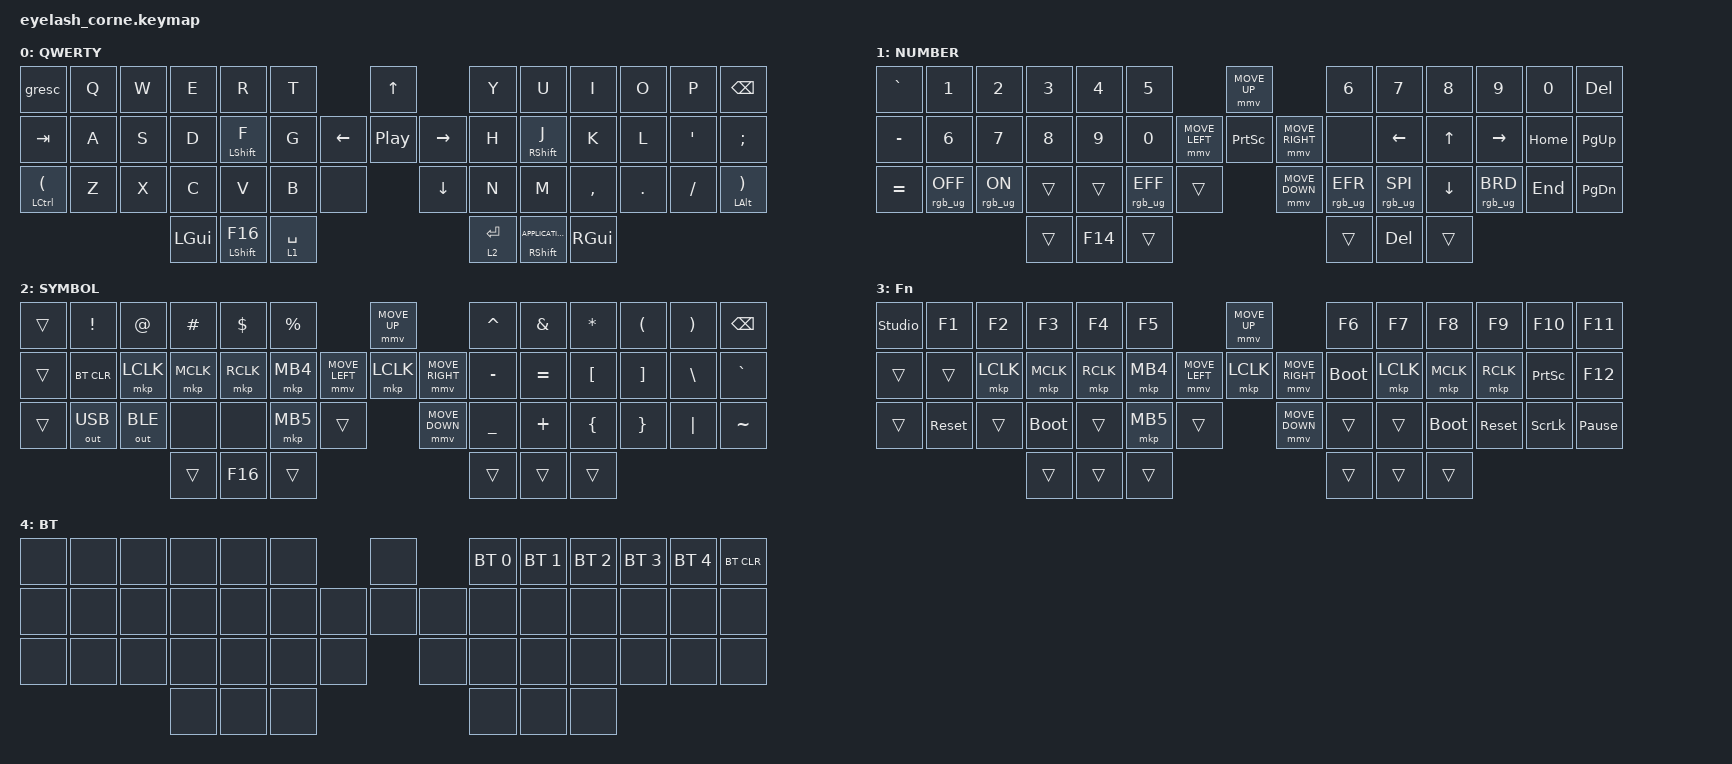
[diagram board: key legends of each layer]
#define ZMK_POINTING_DEFAULT_MOVE_VAL 1200  // 600
#define ZMK_POINTING_DEFAULT_SCRL_VAL 25   // 10

#include <input/processors.dtsi>
#include <zephyr/dt-bindings/input/input-event-codes.h>
#include <behaviors.dtsi>
#include <dt-bindings/zmk/bt.h>
#include <dt-bindings/zmk/keys.h>
#include <dt-bindings/zmk/outputs.h>
#include <dt-bindings/zmk/pointing.h>
#include <dt-bindings/zmk/rgb.h>

&mmv_input_listener { input-processors = <&zip_xy_scaler 2 1>; };

&msc_input_listener { input-processors = <&zip_scroll_scaler 2 1>; };

&msc {
    acceleration-exponent = <1>;      // 0
    time-to-max-speed-ms = <100>;       // 300
    delay-ms = <0>;                   // 0
};

&mmv {
    time-to-max-speed-ms = <500>;
    acceleration-exponent = <1>;
    trigger-period-ms = <16>;
};

&soft_off { hold-time-ms = <2000>; };

/ {
    behaviors {
        td0: td0 {
            compatible = "zmk,behavior-tap-dance";
            display-name = "Shift/Caps Lock Tap Dance";
            #binding-cells = <0>;
            bindings = <&kp LEFT_SHIFT>, <&kp CAPS>;
        };

        hrm: hrm {
            compatible = "zmk,behavior-hold-tap";
            label = "Home Row Mod";
            bindings = <&kp>, <&kp>;

            #binding-cells = <2>;
            flavor = "hold-preferred";
            tapping-term-ms = <250>;
            quick-tap-ms = <150>;
            require-prior-idle-ms = <125>;
        };
    };

    combos {
        compatible = "zmk,combos";

        softoff {
            bindings = <&soft_off>;
            key-positions = <1 15 29>;
        };

        next-BT {
            bindings = <&sl 4>;
            key-positions = <5 33>;
        };

        capswords {
            bindings = <&caps_word>;
            key-positions = <43 46>;
        };
    };

    keymap {
        compatible = "zmk,keymap";

        default_layer {
            display-name = "QWERTY";
            bindings = <
&gresc                      &kp Q  &kp W  &kp E     &kp R               &kp T                           &kp UP                       &kp Y        &kp U                          &kp I          &kp O    &kp P             &kp BACKSPACE
&kp TAB                     &kp A  &kp S  &kp D     &hrm LEFT_SHIFT F   &kp G                 &kp LEFT  &kp C_PLAY_PAUSE  &kp RIGHT  &kp H        &hrm RIGHT_SHIFT J             &kp K          &kp L    &kp SINGLE_QUOTE  &kp SEMI
&mt LCTRL LEFT_PARENTHESIS  &kp Z  &kp X  &kp C     &kp V               &kp B        &none              &kp DOWN                     &kp N        &kp M                          &kp COMMA      &kp DOT  &kp FSLH          &mt LEFT_ALT RIGHT_PARENTHESIS
                                          &kp LGUI  &mt LEFT_SHIFT F16  &lt 1 SPACE                                                  &lt 2 ENTER  &mt RIGHT_SHIFT K_APPLICATION  &kp RIGHT_GUI
            >;
        };

        lower_layer {
            display-name = "NUMBER";
            bindings = <
&kp GRAVE  &kp N1           &kp N2          &kp N3  &kp N4   &kp N5                                     &mmv MOVE_UP                      &kp N6           &kp N7           &kp N8    &kp N9           &kp N0    &kp DEL
&kp MINUS  &kp N6           &kp N7          &kp N8  &kp N9   &kp N0                     &mmv MOVE_LEFT  &kp PRINTSCREEN  &mmv MOVE_RIGHT  &none            &kp LEFT         &kp UP    &kp RIGHT        &kp HOME  &kp PG_UP
&kp EQUAL  &rgb_ug RGB_OFF  &rgb_ug RGB_ON  &trans  &trans   &rgb_ug RGB_EFF  &trans                    &mmv MOVE_DOWN                    &rgb_ug RGB_EFR  &rgb_ug RGB_SPI  &kp DOWN  &rgb_ug RGB_BRD  &kp END   &kp PG_DN
                                            &trans  &kp F14  &trans                                                                       &trans           &kp DEL          &trans
            >;
        };

        raise_layer {
            display-name = "SYMBOL";
            bindings = <
&trans  &kp EXCL      &kp AT        &kp HASH   &kp DLLR   &kp PRCNT                            &mmv MOVE_UP                     &kp CARET  &kp AMPS   &kp ASTRK  &kp LPAR  &kp RPAR  &kp BSPC
&trans  &bt BT_CLR    &mkp LCLK     &mkp MCLK  &mkp RCLK  &mkp MB4             &mmv MOVE_LEFT  &mkp LCLK       &mmv MOVE_RIGHT  &kp MINUS  &kp EQUAL  &kp LBKT   &kp RBKT  &kp BSLH  &kp GRAVE
&trans  &out OUT_USB  &out OUT_BLE  &none      &none      &mkp MB5   &trans                    &mmv MOVE_DOWN                   &kp UNDER  &kp PLUS   &kp LBRC   &kp RBRC  &kp PIPE  &kp TILDE
                                    &trans     &kp F16    &trans                                                                &trans     &trans     &trans
            >;
        };

        layer_3 {
            display-name = "Fn";
            bindings = <
&studio_unlock  &kp F1      &kp F2     &kp F3       &kp F4     &kp F5                              &mmv MOVE_UP                     &kp F6       &kp F7     &kp F8       &kp F9      &kp F10          &kp F11
&trans          &trans      &mkp LCLK  &mkp MCLK    &mkp RCLK  &mkp MB4            &mmv MOVE_LEFT  &mkp LCLK       &mmv MOVE_RIGHT  &bootloader  &mkp LCLK  &mkp MCLK    &mkp RCLK   &kp PRINTSCREEN  &kp F12
&trans          &sys_reset  &trans     &bootloader  &trans     &mkp MB5  &trans                    &mmv MOVE_DOWN                   &trans       &trans     &bootloader  &sys_reset  &kp SCROLLLOCK   &kp PAUSE_BREAK
                                       &trans       &trans     &trans                                                               &trans       &trans     &trans
            >;
        };

        BT {
            bindings = <
&none  &none  &none  &none  &none  &none                  &none         &bt BT_SEL 0  &bt BT_SEL 1  &bt BT_SEL 2  &bt BT_SEL 3  &bt BT_SEL 4  &bt BT_CLR
&none  &none  &none  &none  &none  &none           &none  &none  &none  &none         &none         &none         &none         &none         &none
&none  &none  &none  &none  &none  &none  &none           &none         &none         &none         &none         &none         &none         &none
                     &none  &none  &none                                &none         &none         &none
            >;
        };
    };

    conditional_layers {
        compatible = "zmk,conditional-layers";

        all-in {
            if-layers = <2 1>;
            then-layer = <3>;
        };
    };
};
